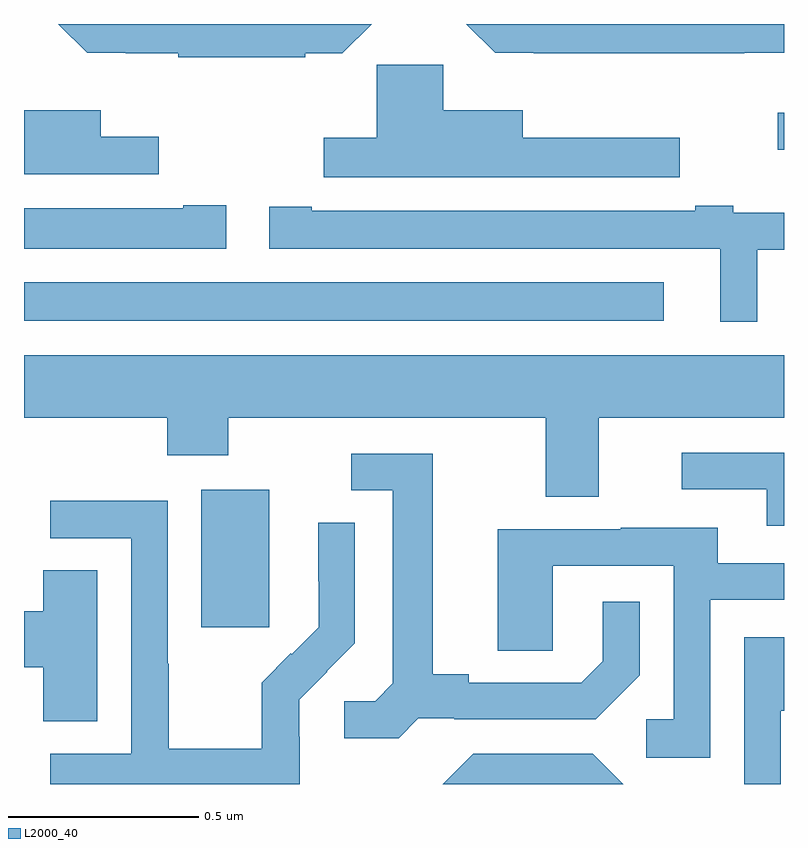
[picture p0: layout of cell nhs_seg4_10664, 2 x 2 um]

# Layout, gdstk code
import gdstk
lib = gdstk.Library(unit=1e-6, precision=1e-09)
def R(c, l, rs):  # rectangles x0, y0, x1, y1
    for r in rs: c.add(gdstk.rectangle(r[:2], r[2:], *l))
def P(c, l, *ps):  # polygons
    for p in ps: c.add(gdstk.Polygon(p, *l))
L2000_40 = (2000, 40)

nhs_seg4_10664 = lib.new_cell('nhs_seg4_10664')
R(nhs_seg4_10664, L2000_40, [(243.467,752.313,243.646,752.674), (243,753.119,244.684,753.22), (244.983,753.569,245,753.667)])
P(nhs_seg4_10664, L2000_40, [(243.74,753.823),(243.838,753.823),(243.915,753.9),(243.09,753.9),(243.166,753.824),(243.268,753.824),(243.268,753.823),(243.406,753.823),(243.406,753.813),(243.74,753.813)],
  [(244.895,753.824),(245,753.824),(245,753.9),(244.164,753.9),(244.24,753.824),(244.342,753.824),(244.342,753.823),(244.895,753.823)],
  [(244.726,753.601),(244.312,753.601),(244.312,753.673),(244.103,753.673),(244.103,753.793),(243.928,753.793),(243.928,753.601),(243.789,753.601),(243.789,753.497),(244.726,753.497)],
  [(243.355,753.603),(243.202,753.603),(243.202,753.673),(243,753.673),(243,753.504),(243.355,753.504)],
  [(243.532,753.423),(243.419,753.423),(243.419,753.415),(243,753.415),(243,753.308),(243.532,753.308)],
  [(244.93,753.306),(245,753.306),(245,753.403),(244.866,753.403),(244.866,753.422),(244.766,753.422),(244.766,753.409),(243.757,753.409),(243.757,753.419),(243.645,753.419),(243.645,753.308),(244.832,753.308),(244.832,753.117),(244.93,753.117)],
  [(244.513,752.864),(245,752.864),(245,753.028),(243,753.028),(243,752.864),(243.377,752.864),(243.377,752.765),(243.537,752.765),(243.537,752.864),(244.373,752.864),(244.373,752.656),(244.513,752.656)],
  [(245,752.772),(244.731,752.772),(244.731,752.676),(244.955,752.676),(244.955,752.58),(245,752.58)],
  [(244.038,752.073),(244.132,752.073),(244.132,752.07),(244.504,752.07),(244.62,752.186),(244.62,752.38),(244.523,752.38),(244.523,752.223),(244.466,752.166),(244.171,752.166),(244.171,752.189),(244.075,752.189),(244.075,752.769),(243.861,752.769),(243.861,752.673),(243.971,752.673),(243.971,752.165),(243.924,752.118),(243.843,752.118),(243.843,752.021),(243.986,752.021)],
  [(243.726,752.025),(243.724,752.025),(243.724,752.122),(243.798,752.196),(243.797,752.197),(243.87,752.27),(243.87,752.588),(243.774,752.588),(243.774,752.434),(243.776,752.434),(243.776,752.312),(243.705,752.241),(243.702,752.244),(243.625,752.167),(243.625,751.993),(243.381,751.993),(243.381,752.216),(243.378,752.216),(243.378,752.646),(243.069,752.646),(243.069,752.547),(243.282,752.547),(243.282,751.98),(243.069,751.98),(243.069,751.9),(243.726,751.9)],
  [(244.806,752.385),(245,752.385),(245,752.481),(244.825,752.481),(244.825,752.575),(244.571,752.575),(244.571,752.571),(244.247,752.571),(244.247,752.251),(244.392,752.251),(244.392,752.475),(244.71,752.475),(244.71,752.07),(244.638,752.07),(244.638,751.969),(244.806,751.969)],
  [(243.193,752.462),(243.05,752.462),(243.05,752.354),(243,752.354),(243,752.207),(243.05,752.207),(243.05,752.065),(243.193,752.065)],
  [(244.992,752.093),(245,752.093),(245,752.286),(244.896,752.286),(244.896,751.9),(244.992,751.9)],
  [(244.497,751.98),(244.182,751.98),(244.102,751.9),(244.577,751.9)])

lib.write_gds('nhs_seg4_10664.gds')
